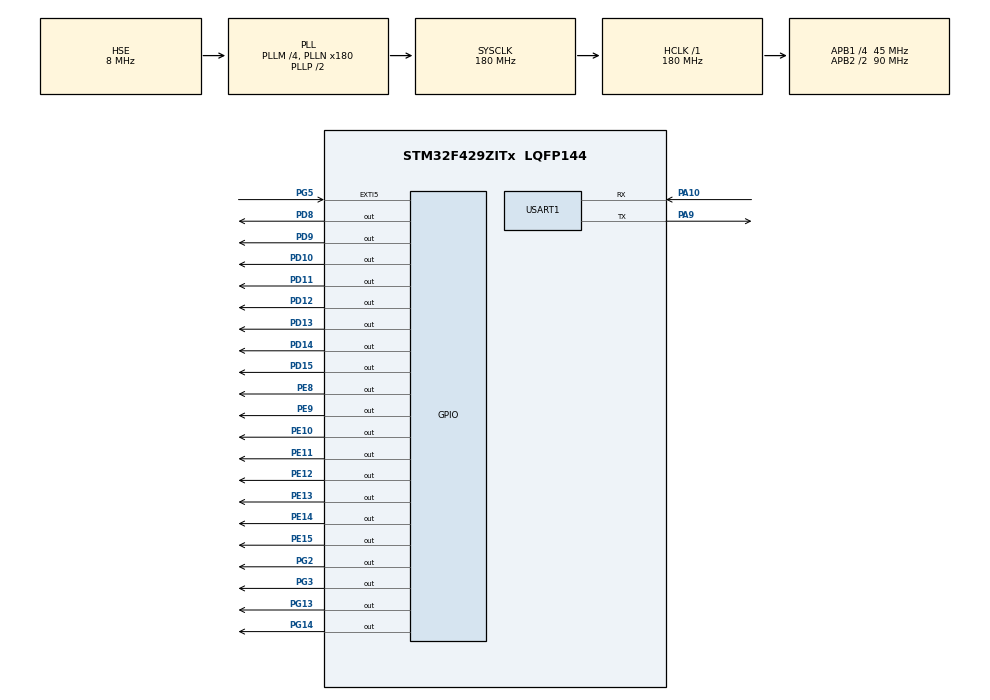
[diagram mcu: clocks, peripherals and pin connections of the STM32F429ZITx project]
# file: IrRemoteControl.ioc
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Mcu.Family=STM32F4
Mcu.Name=STM32F429ZITx
Mcu.Package=LQFP144
NVIC.EXTI9_5_IRQn=true\:0\:0\:false\:false\:true\:true\:true\:true
NVIC.PriorityGroup=NVIC_PRIORITYGROUP_4
NVIC.TIM6_DAC_IRQn=true\:0\:0\:false\:false\:true\:true\:true\:true
PA10.Mode=Asynchronous
PA10.Signal=USART1_RX
PA9.Mode=Asynchronous
PA9.Signal=USART1_TX
PD10.Signal=GPIO_Output
PD11.Signal=GPIO_Output
PD12.Signal=GPIO_Output
PD13.Signal=GPIO_Output
PD14.Signal=GPIO_Output
PD15.Signal=GPIO_Output
PD8.Signal=GPIO_Output
PD9.Signal=GPIO_Output
PE10.Signal=GPIO_Output
PE11.Signal=GPIO_Output
PE12.Signal=GPIO_Output
PE13.Signal=GPIO_Output
PE14.Signal=GPIO_Output
PE15.Signal=GPIO_Output
PE8.Signal=GPIO_Output
PE9.Signal=GPIO_Output
PG13.Signal=GPIO_Output
PG14.Signal=GPIO_Output
PG2.Signal=GPIO_Output
PG3.Signal=GPIO_Output
PG5.GPIO_ModeDefaultEXTI=GPIO_MODE_IT_FALLING
PG5.GPIO_PuPd=GPIO_PULLUP
PG5.Signal=GPXTI5
PH0/OSC_IN.Mode=HSE-External-Oscillator
PH0/OSC_IN.Signal=RCC_OSC_IN
PH1/OSC_OUT.Mode=HSE-External-Oscillator
PH1/OSC_OUT.Signal=RCC_OSC_OUT
ProjectManager.HeapSize=0x200
ProjectManager.StackSize=0x400
ProjectManager.TargetToolchain=STM32CubeIDE
RCC.48MHZClocksFreq_Value=90000000
RCC.AHBFreq_Value=180000000
RCC.APB1CLKDivider=RCC_HCLK_DIV4
RCC.APB1Freq_Value=45000000
RCC.APB1TimFreq_Value=90000000
RCC.APB2CLKDivider=RCC_HCLK_DIV2
RCC.APB2Freq_Value=90000000
RCC.APB2TimFreq_Value=180000000
RCC.CortexFreq_Value=180000000
RCC.HCLKFreq_Value=180000000
RCC.HSE_VALUE=8000000
RCC.HSI_VALUE=16000000
RCC.LSE_VALUE=32768
RCC.PLLM=4
RCC.PLLN=180
RCC.PLLSourceVirtual=RCC_PLLSOURCE_HSE
RCC.SYSCLKFreq_VALUE=180000000
RCC.SYSCLKSource=RCC_SYSCLKSOURCE_PLLCLK
RCC.VCOOutputFreq_Value=360000000
TIM6.Period=99
TIM6.Prescaler=89
USART1.VirtualMode=VM_ASYNC
VP_TIM6_VS_ClockSourceINT.Mode=Enable_Timer
board=custom

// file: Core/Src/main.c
/* USER CODE BEGIN Header */
/**
  ******************************************************************************
  * @file           : main.c
  * @brief          : Main program body
  ******************************************************************************
  * @attention
  *
  * Copyright (c) 2025 STMicroelectronics.
  * All rights reserved.
  *
  * This software is licensed under terms that can be found in the LICENSE file
  * in the root directory of this software component.
  * If no LICENSE file comes with this software, it is provided AS-IS.
  *
  ******************************************************************************
  */
/* USER CODE END Header */
#include "main.h"

/* USER CODE BEGIN Includes */
#include "irda.h"
#include "stdio.h"
#include "string.h"
#include "7seg.h"
/* USER CODE END Includes */

TIM_HandleTypeDef htim6;

UART_HandleTypeDef huart1;

/* USER CODE BEGIN PV */
int tim6_count;

/* USER CODE END PV */

void SystemClock_Config(void);
static void MX_GPIO_Init(void);
static void MX_TIM6_Init(void);
static void MX_USART1_UART_Init(void);

/* USER CODE BEGIN 0 */
extern int command_ok;
extern unsigned char irda_cmd[4];
unsigned char LED_Value;
int step = 0;
int left = 0;   // bắt đầu từ bên trái
int right = 7;  // bắt đầu từ bên phải
void DisplayLEDs(int mode) {
	if (mode == 1){
			if(step) LED_Value = (LED_Value >> 1) | (LED_Value << 7);
			else
			{
				LED_Value = 0x80;
				step++;
			}
		}
		if (mode == 2){
			if(step) LED_Value = (LED_Value << 1) | (LED_Value >> 7);
			else
			{
				LED_Value = 0x01;
				step++;
			}
		}
		if (mode == 3){
			if(step%2==0) LED_Value = 0xFF;
			else  LED_Value = 0x00;
			step++;
		}
		if (mode == 4) {
		    LED_Value = (1 << left) | (1 << right);
		    if (left < 3 && right > 4){
		    	left++;
		    	right--;
		    }
		    else
		    {
		    	if(left > 0 && right < 7){
		    		left--;
		    		right++;
		    	}
		    }
		}

	if (LED_Value & 0x80)
		HAL_GPIO_WritePin(GPIOD, GPIO_PIN_15, GPIO_PIN_SET);
	else
		HAL_GPIO_WritePin(GPIOD, GPIO_PIN_15, GPIO_PIN_RESET);
	if (LED_Value & 0x40)
		HAL_GPIO_WritePin(GPIOD, GPIO_PIN_14, GPIO_PIN_SET);
	else
		HAL_GPIO_WritePin(GPIOD, GPIO_PIN_14, GPIO_PIN_RESET);
	if (LED_Value & 0x20)
		HAL_GPIO_WritePin(GPIOD, GPIO_PIN_13, GPIO_PIN_SET);
	else
		HAL_GPIO_WritePin(GPIOD, GPIO_PIN_13, GPIO_PIN_RESET);
	if (LED_Value & 0x10)
		HAL_GPIO_WritePin(GPIOD, GPIO_PIN_12, GPIO_PIN_SET);
	else
		HAL_GPIO_WritePin(GPIOD, GPIO_PIN_12, GPIO_PIN_RESET);
	if (LED_Value & 0x8)
		HAL_GPIO_WritePin(GPIOD, GPIO_PIN_11, GPIO_PIN_SET);
	else
		HAL_GPIO_WritePin(GPIOD, GPIO_PIN_11, GPIO_PIN_RESET);
	if (LED_Value & 0x4)
		HAL_GPIO_WritePin(GPIOD, GPIO_PIN_10, GPIO_PIN_SET);
	else
		HAL_GPIO_WritePin(GPIOD, GPIO_PIN_10, GPIO_PIN_RESET);
	if (LED_Value & 0x2)
		HAL_GPIO_WritePin(GPIOD, GPIO_PIN_9, GPIO_PIN_SET);
	else
		HAL_GPIO_WritePin(GPIOD, GPIO_PIN_9, GPIO_PIN_RESET);
	if (LED_Value & 0x1)
		HAL_GPIO_WritePin(GPIOD, GPIO_PIN_8, GPIO_PIN_SET);
	else
		HAL_GPIO_WritePin(GPIOD, GPIO_PIN_8, GPIO_PIN_RESET);
}
/* USER CODE END 0 */

int main(void)
{

  /* MCU Configuration--------------------------------------------------------*/

  /* Reset of all peripherals, Initializes the Flash interface and the Systick. */
  HAL_Init();

  /* Configure the system clock */
  SystemClock_Config();

  /* Initialize all configured peripherals */
  MX_GPIO_Init();
  MX_TIM6_Init();
  MX_USART1_UART_Init();
  /* USER CODE BEGIN 2 */
  HAL_TIM_Base_Start_IT(&htim6);
  command_ok = 0;
  tim6_count = 0;
  /* USER CODE END 2 */

  /* Infinite loop */
  /* USER CODE BEGIN WHILE */
  while (1)
  {
	  //turn off 2 LEDs
	  HAL_GPIO_TogglePin(GPIOG, GPIO_PIN_13);
	  //delay
	  HAL_Delay(5);

	  if (command_ok)
	  	  {
	  		  char buf[256];
	  		  IrDecode();
	  		  sprintf(buf, "%02x%02x%02x%02x\n", irda_cmd[0], irda_cmd[1], irda_cmd[2], irda_cmd[3]);
	  		  HAL_UART_Transmit(&huart1, (const uint8_t *)buf, strlen(buf), 2);
	  		  Set7SegDisplayValue(irda_cmd[2]);
	  		  command_ok = 0;

	  	  }

	  Run7SegDisplay();
	  HAL_Delay(100);
	  if(irda_cmd[2]==69){
	  	  			 HAL_GPIO_WritePin(GPIOG, GPIO_PIN_3, GPIO_PIN_SET);
	  	  			 DisplayLEDs(1);
	  	  		 }
	  	  		 else if(irda_cmd[2]==70){
	  	  			 HAL_GPIO_WritePin(GPIOG, GPIO_PIN_3, GPIO_PIN_SET);
	  	  			DisplayLEDs(2);
	  	  		 }
	  	  		 else if(irda_cmd[2]==71){
	  	  			 HAL_GPIO_WritePin(GPIOG, GPIO_PIN_3, GPIO_PIN_SET);
	  	  			DisplayLEDs(3);
	  	  		 }
	  	  		 else if(irda_cmd[2]==68){
	  	  			 HAL_GPIO_WritePin(GPIOG, GPIO_PIN_3, GPIO_PIN_SET);
	  	  			DisplayLEDs(4);
	  	  		 }
	  	  		 else if(irda_cmd[2]==28){
	  	  			 HAL_GPIO_WritePin(GPIOG, GPIO_PIN_3,!HAL_GPIO_ReadPin(GPIOG, GPIO_PIN_3));
	  	  		 }
	  HAL_Delay(100);
    /* USER CODE END WHILE */

  }
}

void SystemClock_Config(void)
{
  RCC_OscInitTypeDef RCC_OscInitStruct = {0};
  RCC_ClkInitTypeDef RCC_ClkInitStruct = {0};

  /** Configure the main internal regulator output voltage
  */
  __HAL_RCC_PWR_CLK_ENABLE();
  __HAL_PWR_VOLTAGESCALING_CONFIG(PWR_REGULATOR_VOLTAGE_SCALE1);

  /** Initializes the RCC Oscillators according to the specified parameters
  * in the RCC_OscInitTypeDef structure.
  */
  RCC_OscInitStruct.OscillatorType = RCC_OSCILLATORTYPE_HSE;
  RCC_OscInitStruct.HSEState = RCC_HSE_ON;
  RCC_OscInitStruct.PLL.PLLState = RCC_PLL_ON;
  RCC_OscInitStruct.PLL.PLLSource = RCC_PLLSOURCE_HSE;
  RCC_OscInitStruct.PLL.PLLM = 4;
  RCC_OscInitStruct.PLL.PLLN = 180;
  RCC_OscInitStruct.PLL.PLLP = RCC_PLLP_DIV2;
  RCC_OscInitStruct.PLL.PLLQ = 4;
  if (HAL_RCC_OscConfig(&RCC_OscInitStruct) != HAL_OK)
  {
    Error_Handler();
  }

  /** Activate the Over-Drive mode
  */
  if (HAL_PWREx_EnableOverDrive() != HAL_OK)
  {
    Error_Handler();
  }

  /** Initializes the CPU, AHB and APB buses clocks
  */
  RCC_ClkInitStruct.ClockType = RCC_CLOCKTYPE_HCLK|RCC_CLOCKTYPE_SYSCLK
                              |RCC_CLOCKTYPE_PCLK1|RCC_CLOCKTYPE_PCLK2;
  RCC_ClkInitStruct.SYSCLKSource = RCC_SYSCLKSOURCE_PLLCLK;
  RCC_ClkInitStruct.AHBCLKDivider = RCC_SYSCLK_DIV1;
  RCC_ClkInitStruct.APB1CLKDivider = RCC_HCLK_DIV4;
  RCC_ClkInitStruct.APB2CLKDivider = RCC_HCLK_DIV2;

  if (HAL_RCC_ClockConfig(&RCC_ClkInitStruct, FLASH_LATENCY_5) != HAL_OK)
  {
    Error_Handler();
  }
}

static void MX_TIM6_Init(void)
{

  TIM_MasterConfigTypeDef sMasterConfig = {0};

  htim6.Instance = TIM6;
  htim6.Init.Prescaler = 89;
  htim6.Init.CounterMode = TIM_COUNTERMODE_UP;
  htim6.Init.Period = 99;
  htim6.Init.AutoReloadPreload = TIM_AUTORELOAD_PRELOAD_DISABLE;
  if (HAL_TIM_Base_Init(&htim6) != HAL_OK)
  {
    Error_Handler();
  }
  sMasterConfig.MasterOutputTrigger = TIM_TRGO_RESET;
  sMasterConfig.MasterSlaveMode = TIM_MASTERSLAVEMODE_DISABLE;
  if (HAL_TIMEx_MasterConfigSynchronization(&htim6, &sMasterConfig) != HAL_OK)
  {
    Error_Handler();
  }

}

static void MX_USART1_UART_Init(void)
{

  huart1.Instance = USART1;
  huart1.Init.BaudRate = 115200;
  huart1.Init.WordLength = UART_WORDLENGTH_8B;
  huart1.Init.StopBits = UART_STOPBITS_1;
  huart1.Init.Parity = UART_PARITY_NONE;
  huart1.Init.Mode = UART_MODE_TX_RX;
  huart1.Init.HwFlowCtl = UART_HWCONTROL_NONE;
  huart1.Init.OverSampling = UART_OVERSAMPLING_16;
  if (HAL_UART_Init(&huart1) != HAL_OK)
  {
    Error_Handler();
  }

}

static void MX_GPIO_Init(void)
{
  GPIO_InitTypeDef GPIO_InitStruct = {0};

  /* GPIO Ports Clock Enable */
  __HAL_RCC_GPIOH_CLK_ENABLE();
  __HAL_RCC_GPIOE_CLK_ENABLE();
  __HAL_RCC_GPIOD_CLK_ENABLE();
  __HAL_RCC_GPIOG_CLK_ENABLE();
  __HAL_RCC_GPIOA_CLK_ENABLE();

  /*Configure GPIO pin Output Level */
  HAL_GPIO_WritePin(GPIOE, GPIO_PIN_8|GPIO_PIN_9|GPIO_PIN_10|GPIO_PIN_11
                          |GPIO_PIN_12|GPIO_PIN_13|GPIO_PIN_14|GPIO_PIN_15, GPIO_PIN_RESET);

  /*Configure GPIO pin Output Level */
  HAL_GPIO_WritePin(GPIOD, GPIO_PIN_8|GPIO_PIN_9|GPIO_PIN_10|GPIO_PIN_11
                          |GPIO_PIN_12|GPIO_PIN_13|GPIO_PIN_14|GPIO_PIN_15, GPIO_PIN_RESET);

  /*Configure GPIO pin Output Level */
  HAL_GPIO_WritePin(GPIOG, GPIO_PIN_2|GPIO_PIN_3|GPIO_PIN_13|GPIO_PIN_14, GPIO_PIN_RESET);

  /*Configure GPIO pins : PE8 PE9 PE10 PE11
                           PE12 PE13 PE14 PE15 */
  GPIO_InitStruct.Pin = GPIO_PIN_8|GPIO_PIN_9|GPIO_PIN_10|GPIO_PIN_11
                          |GPIO_PIN_12|GPIO_PIN_13|GPIO_PIN_14|GPIO_PIN_15;
  GPIO_InitStruct.Mode = GPIO_MODE_OUTPUT_PP;
  GPIO_InitStruct.Pull = GPIO_NOPULL;
  GPIO_InitStruct.Speed = GPIO_SPEED_FREQ_LOW;
  HAL_GPIO_Init(GPIOE, &GPIO_InitStruct);

  /*Configure GPIO pins : PD8 PD9 PD10 PD11
                           PD12 PD13 PD14 PD15 */
  GPIO_InitStruct.Pin = GPIO_PIN_8|GPIO_PIN_9|GPIO_PIN_10|GPIO_PIN_11
                          |GPIO_PIN_12|GPIO_PIN_13|GPIO_PIN_14|GPIO_PIN_15;
  GPIO_InitStruct.Mode = GPIO_MODE_OUTPUT_PP;
  GPIO_InitStruct.Pull = GPIO_NOPULL;
  GPIO_InitStruct.Speed = GPIO_SPEED_FREQ_LOW;
  HAL_GPIO_Init(GPIOD, &GPIO_InitStruct);

  /*Configure GPIO pins : PG2 PG3 PG13 PG14 */
  GPIO_InitStruct.Pin = GPIO_PIN_2|GPIO_PIN_3|GPIO_PIN_13|GPIO_PIN_14;
  GPIO_InitStruct.Mode = GPIO_MODE_OUTPUT_PP;
  GPIO_InitStruct.Pull = GPIO_NOPULL;
  GPIO_InitStruct.Speed = GPIO_SPEED_FREQ_LOW;
  HAL_GPIO_Init(GPIOG, &GPIO_InitStruct);

  /*Configure GPIO pin : PG5 */
  GPIO_InitStruct.Pin = GPIO_PIN_5;
  GPIO_InitStruct.Mode = GPIO_MODE_IT_FALLING;
  GPIO_InitStruct.Pull = GPIO_PULLUP;
  HAL_GPIO_Init(GPIOG, &GPIO_InitStruct);

  /* EXTI interrupt init*/
  HAL_NVIC_SetPriority(EXTI9_5_IRQn, 0, 0);
  HAL_NVIC_EnableIRQ(EXTI9_5_IRQn);

}

void Error_Handler(void)
{
  __disable_irq();
  while (1)
  {
  }
}
